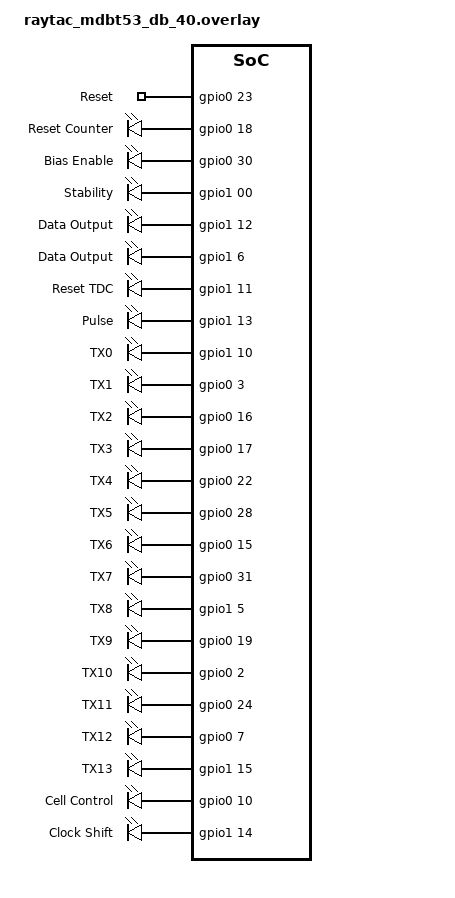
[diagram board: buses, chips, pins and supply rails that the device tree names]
/ {
    aliases {
        rst = &rst;
        rst-ctr = &rst_ctr;
        enbias = &enbias;
        stab = &stab;
	clk-wrd = &clk_wrd;
        in-wrd = &in_wrd;
	pulse = &pulse;
        rst-tdc = &rst_tdc;


       tx0 = &tx0;
        tx1 = &tx1;
        tx2 = &tx2;
        tx3 = &tx3;
        tx4 = &tx4;
        tx5 = &tx5;
        tx6 = &tx6;
        tx7 = &tx7;
        tx8 = &tx8;
        tx9 = &tx9;
        tx10 = &tx10;
        tx11 = &tx11;
        tx12 = &tx12;
        tx13 = &tx13;
        cell = &cell;
        clk-shift = &clk_shift;

      
        
    };
};
&uart1 {
    status = "disabled";
};

&uart0 {
    status = "disabled";
};


&usbd {
    status = "disabled";
};

&usbd {
    status = "disabled";
};

&nfct {
    status = "disabled";
};

&gpio_fwd {
    status = "disabled";
};


    / {
        my_gpio_output {
            compatible = "gpio-leds";
            rst: rst {
                gpios = <&gpio0 23 GPIO_ACTIVE_HIGH>;
                label = "Reset";
            };
            rst_ctr: rst_ctr{
                gpios = <&gpio0 18 GPIO_ACTIVE_HIGH>;
                label = "Reset Counter";
            };
            enbias: enbias{
                gpios = <&gpio0 30 GPIO_ACTIVE_HIGH>;
                label = "Bias Enable";
            };
            stab: stab{
                gpios = <&gpio1 00 GPIO_ACTIVE_HIGH>;
                label = "Stability";
            };


           in_wrd: in_wrd {
                gpios = <&gpio1 12 GPIO_ACTIVE_HIGH>;
                label = "Data Output";
            };
            clk_wrd: clk_wrd{
                gpios = <&gpio1 6 GPIO_ACTIVE_HIGH>;
                label = "Data Output";
            };

             rst_tdc: rst_tdc {
                gpios = <&gpio1 11 GPIO_ACTIVE_HIGH>;
                label = "Reset TDC";
            };
            pulse: pulse{
                gpios = <&gpio1 13 GPIO_ACTIVE_HIGH>;
                label = "Pulse";
            };

    tx0: tx0 { gpios = <&gpio1 10 GPIO_ACTIVE_HIGH>; label = "TX0"; };
    tx1: tx1 { gpios = <&gpio0 3 GPIO_ACTIVE_HIGH>; label = "TX1"; };
    tx2: tx2 { gpios = <&gpio0 16 GPIO_ACTIVE_HIGH>; label = "TX2"; };
    tx3: tx3 { gpios = <&gpio0 17 GPIO_ACTIVE_HIGH>; label = "TX3"; };
    tx4: tx4 { gpios = <&gpio0 22 GPIO_ACTIVE_HIGH>; label = "TX4"; };
    tx5: tx5 { gpios = <&gpio0 28 GPIO_ACTIVE_HIGH>; label = "TX5"; };
    tx6: tx6 { gpios = <&gpio0 15 GPIO_ACTIVE_HIGH>; label = "TX6"; };
    tx7: tx7 { gpios = <&gpio0 31 GPIO_ACTIVE_HIGH>; label = "TX7"; };
    tx8: tx8 { gpios = <&gpio1 5 GPIO_ACTIVE_HIGH>; label = "TX8"; };
    tx9: tx9 { gpios = <&gpio0 19 GPIO_ACTIVE_HIGH>; label = "TX9"; };
    tx10: tx10 { gpios = <&gpio0 2 GPIO_ACTIVE_HIGH>; label = "TX10"; };
    tx11: tx11 { gpios = <&gpio0 24 GPIO_ACTIVE_HIGH>; label = "TX11"; };
    tx12: tx12 { gpios = <&gpio0 7 GPIO_ACTIVE_HIGH>; label = "TX12"; };
    tx13: tx13 { gpios = <&gpio1 15 GPIO_ACTIVE_HIGH>; label = "TX13"; };
       

    cell: cell { gpios = <&gpio0 10 GPIO_ACTIVE_HIGH>; label = "Cell Control"; };
    clk_shift: clk_shift { gpios = <&gpio1 14 GPIO_ACTIVE_HIGH>; label = "Clock Shift"; };
        };
    };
